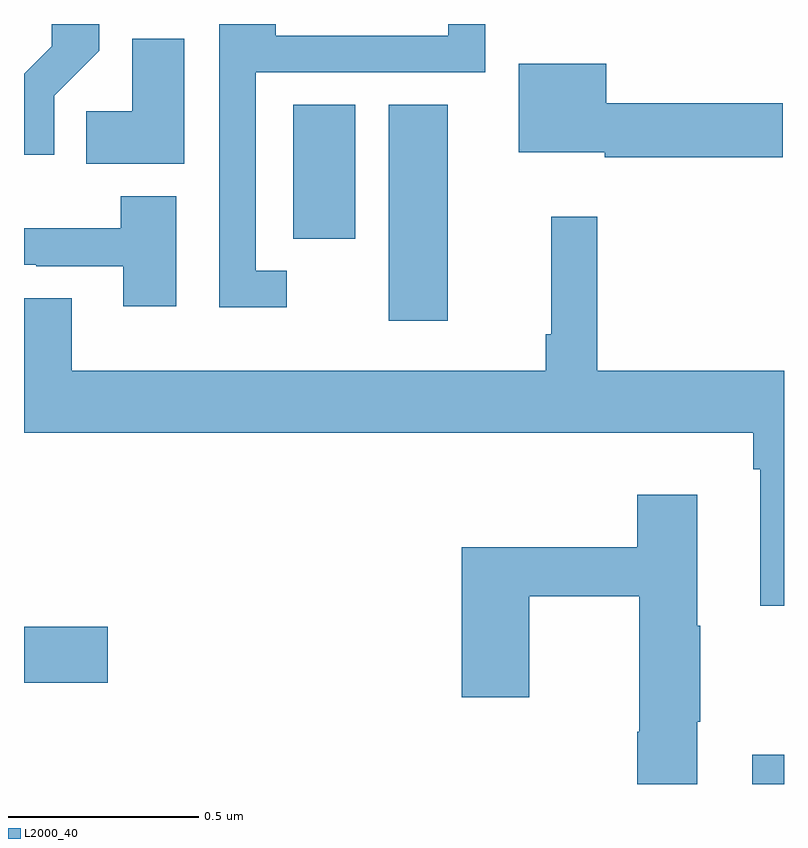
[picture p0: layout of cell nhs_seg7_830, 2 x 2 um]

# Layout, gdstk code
import gdstk
lib = gdstk.Library(unit=1e-6, precision=1e-09)
def R(c, l, rs):  # rectangles x0, y0, x1, y1
    for r in rs: c.add(gdstk.rectangle(r[:2], r[2:], *l))
def P(c, l, *ps):  # polygons
    for p in ps: c.add(gdstk.Polygon(p, *l))
L2000_40 = (2000, 40)

nhs_seg7_830 = lib.new_cell('nhs_seg7_830')
R(nhs_seg7_830, L2000_40, [(123.917,1025,124,1025.077), (122,1025.267,122.221,1025.414), (122.96,1026.219,123.115,1026.788), (122.708,1026.435,122.872,1026.788)])
P(nhs_seg7_830, L2000_40, [(122.692,1026.351),(122.61,1026.351),(122.61,1026.873),(123.214,1026.873),(123.214,1027),(123.116,1027),(123.116,1026.969),(122.662,1026.969),(122.662,1027),(122.514,1027),(122.514,1026.254),(122.692,1026.254)],
  [(122.079,1026.811),(122.198,1026.93),(122.198,1027),(122.073,1027),(122.073,1026.941),(122,1026.869),(122,1026.656),(122.079,1026.656)],
  [(122.422,1026.961),(122.285,1026.961),(122.285,1026.77),(122.164,1026.77),(122.164,1026.632),(122.422,1026.632)],
  [(123.997,1026.792),(123.532,1026.792),(123.532,1026.895),(123.302,1026.895),(123.302,1026.662),(123.528,1026.662),(123.528,1026.65),(123.997,1026.65)],
  [(122.401,1026.547),(122.254,1026.547),(122.254,1026.463),(122,1026.463),(122,1026.366),(122.032,1026.366),(122.032,1026.363),(122.261,1026.363),(122.261,1026.257),(122.401,1026.257)],
  [(124,1026.088),(123.509,1026.088),(123.509,1026.493),(123.388,1026.493),(123.388,1026.184),(123.373,1026.184),(123.373,1026.088),(122.125,1026.088),(122.125,1026.278),(122,1026.278),(122,1025.924),(123.919,1025.924),(123.919,1025.828),(123.938,1025.828),(123.938,1025.469),(124,1025.469)],
  [(123.772,1025.164),(123.78,1025.164),(123.78,1025.417),(123.772,1025.417),(123.772,1025.761),(123.614,1025.761),(123.614,1025.623),(123.152,1025.623),(123.152,1025.228),(123.33,1025.228),(123.33,1025.494),(123.619,1025.494),(123.619,1025.138),(123.614,1025.138),(123.614,1025),(123.772,1025)])

lib.write_gds('nhs_seg7_830.gds')
